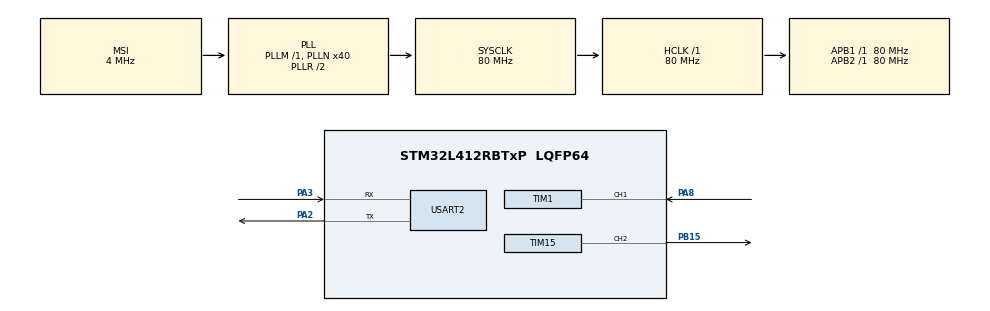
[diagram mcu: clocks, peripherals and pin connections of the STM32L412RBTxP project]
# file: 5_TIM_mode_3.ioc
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Mcu.Family=STM32L4
Mcu.Name=STM32L412RBTxP
Mcu.Package=LQFP64
NVIC.PriorityGroup=NVIC_PRIORITYGROUP_4
NVIC.TIM1_BRK_TIM15_IRQn=true\:0\:0\:false\:false\:true\:true\:true
NVIC.TIM1_CC_IRQn=true\:0\:0\:false\:false\:true\:true\:true
NVIC.TIM1_TRG_COM_IRQn=true\:0\:0\:false\:false\:true\:true\:true
NVIC.USART2_IRQn=true\:0\:0\:false\:false\:true\:true\:true
PA2.Mode=Asynchronous
PA2.Signal=USART2_TX
PA3.Mode=Asynchronous
PA3.Signal=USART2_RX
PA8.Signal=S_TIM1_CH1
PB13.Signal=TIM15_CH1N
PB15.Signal=S_TIM15_CH2
ProjectManager.HeapSize=0x200
ProjectManager.StackSize=0x400
ProjectManager.TargetToolchain=STM32CubeIDE
RCC.ADCFreq_Value=80000000
RCC.AHBFreq_Value=80000000
RCC.APB1Freq_Value=80000000
RCC.APB1TimFreq_Value=80000000
RCC.APB2Freq_Value=80000000
RCC.APB2TimFreq_Value=80000000
RCC.CortexFreq_Value=80000000
RCC.HCLKFreq_Value=80000000
RCC.HSE_VALUE=8000000
RCC.HSI48_VALUE=48000000
RCC.HSI_VALUE=16000000
RCC.LSE_VALUE=32768
RCC.MSI_VALUE=4000000
RCC.PLLN=40
RCC.SYSCLKFreq_VALUE=80000000
RCC.SYSCLKSource=RCC_SYSCLKSOURCE_PLLCLK
RCC.USBFreq_Value=4000000
RCC.VCOOutputFreq_Value=160000000
SH.S_TIM15_CH2.0=TIM15_CH2,PWM Generation2 CH2
SH.S_TIM1_CH1.0=TIM1_CH1,Input_Capture1_from_TI1
SH.S_TIM1_CH1.1=TIM1_CH1,Input_Capture2_from_TI1
TIM1.Channel-Input_Capture1_from_TI1=TIM_CHANNEL_1
TIM1.Channel-Input_Capture2_from_TI1=TIM_CHANNEL_2
TIM1.ICPolarity_CH2=TIM_INPUTCHANNELPOLARITY_FALLING
TIM1.Period=65536-1
TIM1.Prescaler=10-1
TIM15.Channel-PWM\ Generation2\ CH2=TIM_CHANNEL_2
TIM15.Period=500-1
TIM15.Prescaler=80-1
USART2.VirtualMode-Asynchronous=VM_ASYNC
VP_TIM15_VS_ClockSourceINT.Mode=Internal
VP_TIM1_VS_ClockSourceINT.Mode=Internal
board=custom

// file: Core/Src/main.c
/* USER CODE BEGIN Header */
/**
  ******************************************************************************
  * @file           : main.c
  * @brief          : Main program body
  ******************************************************************************
  * @attention
  *
  * <h2><center>&copy; Copyright (c) 2021 STMicroelectronics.
  * All rights reserved.</center></h2>
  *
  * This software component is licensed by ST under BSD 3-Clause license,
  * the "License"; You may not use this file except in compliance with the
  * License. You may obtain a copy of the License at:
  *                        opensource.org/licenses/BSD-3-Clause
  *
  ******************************************************************************
  */
/* USER CODE END Header */
#include "main.h"
#include "tim.h"
#include "usart.h"
#include "gpio.h"

/* USER CODE BEGIN Includes */
#include <stdio.h>
#include <stdbool.h>

/* USER CODE END Includes */

void SystemClock_Config(void);

/* USER CODE BEGIN 0 */
#ifdef __GNUC__
    #define PUTCHAR_PROTOTYPE int __io_putchar(int ch)
#else
    #define PUTCHAR_PROTOTYPE int fputc(int ch, FILE *f)
#endif

PUTCHAR_PROTOTYPE
{
  HAL_UART_Transmit(&huart2, (uint8_t *)&ch, 1, 0xFFFF);
  return ch;
}

bool ch1done = false;
bool ch2done = false;

void HAL_TIM_IC_CaptureCallback(TIM_HandleTypeDef *htim)
{
  if(htim->Instance == TIM1 && htim->Channel == HAL_TIM_ACTIVE_CHANNEL_1)
  {
    ch1done = true;
  }

  if(htim->Instance == TIM1 && htim->Channel == HAL_TIM_ACTIVE_CHANNEL_2)
  {
    ch2done = true;
  }
}

/* USER CODE END 0 */

int main(void)
{

  /* MCU Configuration--------------------------------------------------------*/

  /* Reset of all peripherals, Initializes the Flash interface and the Systick. */
  HAL_Init();

  /* Configure the system clock */
  SystemClock_Config();

  /* Initialize all configured peripherals */
  MX_GPIO_Init();
  MX_USART2_UART_Init();
  MX_TIM15_Init();
  MX_TIM1_Init();
  /* USER CODE BEGIN 2 */

  /*
  HAL_TIM_IC_Start_DMA(&htim2, TIM_CHANNEL_1, (uint32_t *)capture1, sizeof(capture1)-1);
  htim2.State = HAL_TIM_STATE_READY;
  HAL_TIM_IC_Start_DMA(&htim2, TIM_CHANNEL_2, (uint32_t *)capture2, sizeof(capture2)-1);

  HAL_TIMEx_PWMN_Start(&htim15, TIM_CHANNEL_1);
   *
   */
  HAL_TIM_IC_Start_IT(&htim1, TIM_CHANNEL_1);
  HAL_TIM_IC_Start_IT(&htim1, TIM_CHANNEL_2);
  //HAL_TIMEx_PWMN_Start(&htim15, TIM_CHANNEL_1);
  HAL_TIM_PWM_Start(&htim15, TIM_CHANNEL_2);

  /* USER CODE END 2 */

  /* Infinite loop */
  /* USER CODE BEGIN WHILE */
  printf("start \r\n");
  while (1)
  {
    /* USER CODE END WHILE */

    /* USER CODE BEGIN 3 */
    if(ch1done)
    {
      printf("ch1 \r\n");
      ch1done = false;
    }

    if(ch2done)
    {
      printf("ch2 \r\n");
      ch2done = false;
    }

  }
  /* USER CODE END 3 */
}

void SystemClock_Config(void)
{
  RCC_OscInitTypeDef RCC_OscInitStruct = {0};
  RCC_ClkInitTypeDef RCC_ClkInitStruct = {0};
  RCC_PeriphCLKInitTypeDef PeriphClkInit = {0};

  /** Configure the main internal regulator output voltage
  */
  if (HAL_PWREx_ControlVoltageScaling(PWR_REGULATOR_VOLTAGE_SCALE1) != HAL_OK)
  {
    Error_Handler();
  }
  /** Initializes the RCC Oscillators according to the specified parameters
  * in the RCC_OscInitTypeDef structure.
  */
  RCC_OscInitStruct.OscillatorType = RCC_OSCILLATORTYPE_MSI;
  RCC_OscInitStruct.MSIState = RCC_MSI_ON;
  RCC_OscInitStruct.MSICalibrationValue = 0;
  RCC_OscInitStruct.MSIClockRange = RCC_MSIRANGE_6;
  RCC_OscInitStruct.PLL.PLLState = RCC_PLL_ON;
  RCC_OscInitStruct.PLL.PLLSource = RCC_PLLSOURCE_MSI;
  RCC_OscInitStruct.PLL.PLLM = 1;
  RCC_OscInitStruct.PLL.PLLN = 40;
  RCC_OscInitStruct.PLL.PLLQ = RCC_PLLQ_DIV2;
  RCC_OscInitStruct.PLL.PLLR = RCC_PLLR_DIV2;
  if (HAL_RCC_OscConfig(&RCC_OscInitStruct) != HAL_OK)
  {
    Error_Handler();
  }
  /** Initializes the CPU, AHB and APB buses clocks
  */
  RCC_ClkInitStruct.ClockType = RCC_CLOCKTYPE_HCLK|RCC_CLOCKTYPE_SYSCLK
                              |RCC_CLOCKTYPE_PCLK1|RCC_CLOCKTYPE_PCLK2;
  RCC_ClkInitStruct.SYSCLKSource = RCC_SYSCLKSOURCE_PLLCLK;
  RCC_ClkInitStruct.AHBCLKDivider = RCC_SYSCLK_DIV1;
  RCC_ClkInitStruct.APB1CLKDivider = RCC_HCLK_DIV1;
  RCC_ClkInitStruct.APB2CLKDivider = RCC_HCLK_DIV1;

  if (HAL_RCC_ClockConfig(&RCC_ClkInitStruct, FLASH_LATENCY_4) != HAL_OK)
  {
    Error_Handler();
  }
  PeriphClkInit.PeriphClockSelection = RCC_PERIPHCLK_USART2;
  PeriphClkInit.Usart2ClockSelection = RCC_USART2CLKSOURCE_PCLK1;
  if (HAL_RCCEx_PeriphCLKConfig(&PeriphClkInit) != HAL_OK)
  {
    Error_Handler();
  }
}

void Error_Handler(void)
{
  __disable_irq();
  while (1)
  {
  }
}

/************************ (C) COPYRIGHT STMicroelectronics *****END OF FILE****/
